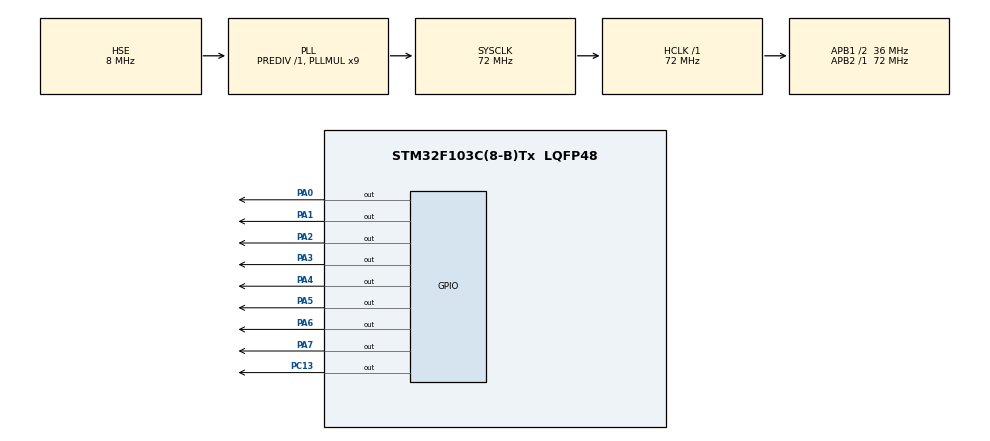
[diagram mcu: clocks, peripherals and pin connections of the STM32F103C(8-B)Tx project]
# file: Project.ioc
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Mcu.Family=STM32F1
Mcu.Name=STM32F103C(8-B)Tx
Mcu.Package=LQFP48
NVIC.PriorityGroup=NVIC_PRIORITYGROUP_4
PA0-WKUP.GPIO_PuPd=GPIO_PULLDOWN
PA0-WKUP.GPIO_Speed=GPIO_SPEED_FREQ_LOW
PA0-WKUP.PinState=GPIO_PIN_SET
PA0-WKUP.Signal=GPIO_Output
PA1.GPIO_PuPd=GPIO_PULLDOWN
PA1.PinState=GPIO_PIN_SET
PA1.Signal=GPIO_Output
PA13.Mode=Serial_Wire
PA13.Signal=SYS_JTMS-SWDIO
PA14.Mode=Serial_Wire
PA14.Signal=SYS_JTCK-SWCLK
PA2.GPIO_PuPd=GPIO_PULLDOWN
PA2.PinState=GPIO_PIN_SET
PA2.Signal=GPIO_Output
PA3.GPIO_PuPd=GPIO_PULLDOWN
PA3.PinState=GPIO_PIN_SET
PA3.Signal=GPIO_Output
PA4.GPIO_PuPd=GPIO_PULLDOWN
PA4.PinState=GPIO_PIN_SET
PA4.Signal=GPIO_Output
PA5.GPIO_PuPd=GPIO_PULLDOWN
PA5.PinState=GPIO_PIN_SET
PA5.Signal=GPIO_Output
PA6.GPIO_PuPd=GPIO_PULLDOWN
PA6.PinState=GPIO_PIN_SET
PA6.Signal=GPIO_Output
PA7.GPIO_PuPd=GPIO_PULLDOWN
PA7.PinState=GPIO_PIN_SET
PA7.Signal=GPIO_Output
PC13-TAMPER-RTC.GPIO_PuPd=GPIO_PULLDOWN
PC13-TAMPER-RTC.PinState=GPIO_PIN_RESET
PC13-TAMPER-RTC.Signal=GPIO_Output
PD0-OSC_IN.Mode=HSE-External-Oscillator
PD0-OSC_IN.Signal=RCC_OSC_IN
PD1-OSC_OUT.Mode=HSE-External-Oscillator
PD1-OSC_OUT.Signal=RCC_OSC_OUT
ProjectManager.HeapSize=0x200
ProjectManager.StackSize=0x400
ProjectManager.TargetToolchain=MDK-ARM V5.32
RCC.AHBFreq_Value=72000000
RCC.APB1CLKDivider=RCC_HCLK_DIV2
RCC.APB1Freq_Value=36000000
RCC.APB1TimFreq_Value=72000000
RCC.APB2Freq_Value=72000000
RCC.APB2TimFreq_Value=72000000
RCC.HCLKFreq_Value=72000000
RCC.PLLMUL=RCC_PLL_MUL9
RCC.PLLSourceVirtual=RCC_PLLSOURCE_HSE
RCC.SYSCLKFreq_VALUE=72000000
RCC.SYSCLKSource=RCC_SYSCLKSOURCE_PLLCLK
RCC.USBFreq_Value=72000000
board=custom

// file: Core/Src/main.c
/* USER CODE BEGIN Header */
/**
  ******************************************************************************
  * @file           : main.c
  * @brief          : Main program body
  ******************************************************************************
  * @attention
  *
  * Copyright (c) 2025 STMicroelectronics.
  * All rights reserved.
  *
  * This software is licensed under terms that can be found in the LICENSE file
  * in the root directory of this software component.
  * If no LICENSE file comes with this software, it is provided AS-IS.
  *
  ******************************************************************************
  */
/* USER CODE END Header */
#include "main.h"
#include "gpio.h"

void SystemClock_Config(void);

/* USER CODE BEGIN 0 */

// 滴答定时器中断回调函数
void HAL_SYSTICK_Callback(void)
{
    // 500ms定时中断，翻转一次PC13引脚的电平
    if(uwTick % 500 == 0)
    {
        HAL_GPIO_TogglePin(GPIOC, GPIO_PIN_13);
    }
}

// 重定义标准库中的GPIO_Write函数
void GPIO_Write(GPIO_TypeDef* GPIOx, uint16_t PortVal)
{
  /* Check the parameters */
  assert_param(IS_GPIO_ALL_INSTANCE(GPIOx));

  GPIOx->ODR = PortVal;
}

/* USER CODE END 0 */

int main(void)
{

  /* MCU Configuration--------------------------------------------------------*/

  /* Reset of all peripherals, Initializes the Flash interface and the Systick. */
  HAL_Init();

  /* Configure the system clock */
  SystemClock_Config();

  /* Initialize all configured peripherals */
  MX_GPIO_Init();

  /* Infinite loop */
  /* USER CODE BEGIN WHILE */
  while (1)
  {
    /*方法一：使用HAL_GPIO_WritePin函数*/
    HAL_GPIO_WritePin(GPIOA,GPIO_PIN_All,GPIO_PIN_SET);        // 置所有LED为高电平（即熄灭所有LED）
    HAL_GPIO_WritePin(GPIOA, GPIO_PIN_0, GPIO_PIN_RESET);      // 置第0个LED为低电平（即点亮第0个LED），往后以此类推
    HAL_Delay(500);

    HAL_GPIO_WritePin(GPIOA,GPIO_PIN_All,GPIO_PIN_SET);
    HAL_GPIO_WritePin(GPIOA, GPIO_PIN_1, GPIO_PIN_RESET);
    HAL_Delay(500);

    HAL_GPIO_WritePin(GPIOA,GPIO_PIN_All,GPIO_PIN_SET);
    HAL_GPIO_WritePin(GPIOA, GPIO_PIN_2, GPIO_PIN_RESET);
    HAL_Delay(500);

    HAL_GPIO_WritePin(GPIOA,GPIO_PIN_All,GPIO_PIN_SET);
    HAL_GPIO_WritePin(GPIOA, GPIO_PIN_3, GPIO_PIN_RESET);
    HAL_Delay(500);

    HAL_GPIO_WritePin(GPIOA,GPIO_PIN_All,GPIO_PIN_SET);
    HAL_GPIO_WritePin(GPIOA, GPIO_PIN_4, GPIO_PIN_RESET);
    HAL_Delay(500);

    HAL_GPIO_WritePin(GPIOA,GPIO_PIN_All,GPIO_PIN_SET);
    HAL_GPIO_WritePin(GPIOA, GPIO_PIN_5, GPIO_PIN_RESET);
    HAL_Delay(500);

    HAL_GPIO_WritePin(GPIOA,GPIO_PIN_All,GPIO_PIN_SET);
    HAL_GPIO_WritePin(GPIOA, GPIO_PIN_6, GPIO_PIN_RESET);
    HAL_Delay(500);

    HAL_GPIO_WritePin(GPIOA,GPIO_PIN_All,GPIO_PIN_SET);
    HAL_GPIO_WritePin(GPIOA, GPIO_PIN_7, GPIO_PIN_RESET);
    HAL_Delay(500);

    // 上面的重复操作的部分可以使用循环更加简洁
    for (uint8_t i = 0; i < 8; i++)
    {
        HAL_GPIO_WritePin(GPIOA, GPIO_PIN_All, GPIO_PIN_SET);              // 关闭所有LED
        HAL_GPIO_WritePin(GPIOA, (GPIO_PIN_0 << i), GPIO_PIN_RESET);       // 点亮第i个LED
        HAL_Delay(500);
    }

    /*方法二：在HAL库中重定义GPIO_Write函数*/
    for (uint8_t i = 0; i < 8; i++)
    {
        GPIO_Write(GPIOA, ~(GPIO_PIN_0 << i));                             // GPIOA引脚上，第i个引脚设置为低电平（即LED点亮）
        HAL_Delay(500);
    }
    /* USER CODE END WHILE */

  }
}

void SystemClock_Config(void)
{
  RCC_OscInitTypeDef RCC_OscInitStruct = {0};
  RCC_ClkInitTypeDef RCC_ClkInitStruct = {0};

  /** Initializes the RCC Oscillators according to the specified parameters
  * in the RCC_OscInitTypeDef structure.
  */
  RCC_OscInitStruct.OscillatorType = RCC_OSCILLATORTYPE_HSE;
  RCC_OscInitStruct.HSEState = RCC_HSE_ON;
  RCC_OscInitStruct.HSEPredivValue = RCC_HSE_PREDIV_DIV1;
  RCC_OscInitStruct.HSIState = RCC_HSI_ON;
  RCC_OscInitStruct.PLL.PLLState = RCC_PLL_ON;
  RCC_OscInitStruct.PLL.PLLSource = RCC_PLLSOURCE_HSE;
  RCC_OscInitStruct.PLL.PLLMUL = RCC_PLL_MUL9;
  if (HAL_RCC_OscConfig(&RCC_OscInitStruct) != HAL_OK)
  {
    Error_Handler();
  }

  /** Initializes the CPU, AHB and APB buses clocks
  */
  RCC_ClkInitStruct.ClockType = RCC_CLOCKTYPE_HCLK|RCC_CLOCKTYPE_SYSCLK
                              |RCC_CLOCKTYPE_PCLK1|RCC_CLOCKTYPE_PCLK2;
  RCC_ClkInitStruct.SYSCLKSource = RCC_SYSCLKSOURCE_PLLCLK;
  RCC_ClkInitStruct.AHBCLKDivider = RCC_SYSCLK_DIV1;
  RCC_ClkInitStruct.APB1CLKDivider = RCC_HCLK_DIV2;
  RCC_ClkInitStruct.APB2CLKDivider = RCC_HCLK_DIV1;

  if (HAL_RCC_ClockConfig(&RCC_ClkInitStruct, FLASH_LATENCY_2) != HAL_OK)
  {
    Error_Handler();
  }
}

void Error_Handler(void)
{
  __disable_irq();
  while (1)
  {
  }
}
